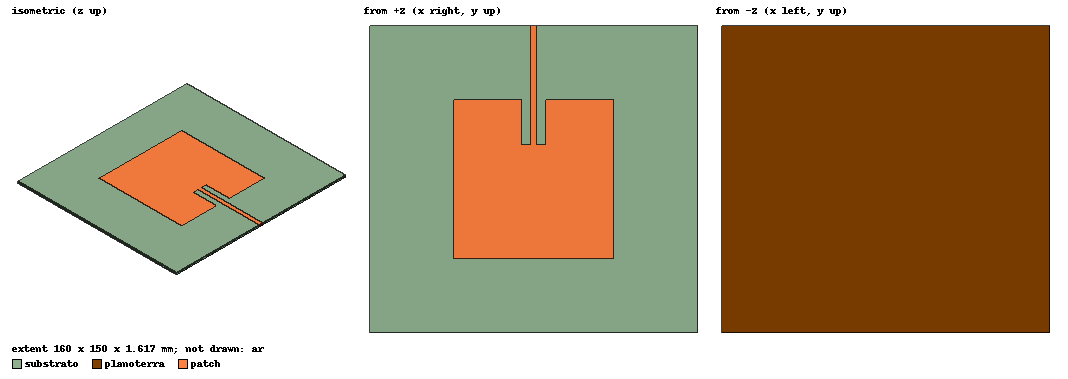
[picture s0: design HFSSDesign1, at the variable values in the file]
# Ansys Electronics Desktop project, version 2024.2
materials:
  vacuum: permittivity=1
  FR4_epoxy: permittivity=4.4 dielectric_loss_tangent=0.02
  air: permittivity=1.0006 permeability=1.0000004
  copper: permeability=0.999991 conductivity=58000000

design HFSSDesign1 (HFSS, HFSS Terminal Network, model units mm)
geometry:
  planoterra [copper] = rectangle(corner=((-160/2) mm, (-150/2) mm, 0mm), x_size=160mm, y_size=150mm)
  substrato [FR4_epoxy] = box(corner=((-160/2) mm, (-150/2) mm, 0mm), size=(160mm, 150mm, 1.6mm))
  patch [copper] = rectangle(corner=((-78/2) mm, (-78/2) mm, 1.6mm), x_size=78mm, y_size=78mm)
  feed = rectangle(corner=((-3.3/2) mm, 0mm, 1.6mm), x_size=3.3mm, y_size=(150/2) mm)
  cut = rectangle(corner=(-6mm, (82/2) mm, 1.6mm), x_size=12mm, y_size=-24mm)
  port = rectangle(corner=((3.3/2) mm, (150/2) mm, 1.6mm), z_size=-1.6mm, x_size=-3.3mm)
  patch.subtract(cut)
  patch.unite(feed)
  ar [air] = box(corner=(-150mm, -150mm, -150mm), size=(300mm, 300mm, 300mm))
  [patch, planoterra].thicken(0.017mm)
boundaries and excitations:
  PerfE1: Perfect E Objects=[patch, planoterra]
  Rad1: Radiation Objects=ar
  1: Lumped Port Objects=port LumpedPortType=Modal Modes{Mode1{IntLine{(0, 75, 0) -> (0, 75, 1.6)} CharImp=Zpi}} Impedance=50ohm
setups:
  Setup1: HfssDriven Frequency=918MHz MaxDeltaS=0.02 MaximumPasses=20 MinimumPasses=1 MinimumConvergedPasses=1 PercentRefinement=30 BasisOrder=1 PortAccuracy=2 DrivenSolverType="Direct Solver"
    sweep Sweep: 800MHz to 1200MHz step 0.002295GHz; Type=Fast SaveFields
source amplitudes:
  1:1: 1V 0deg
